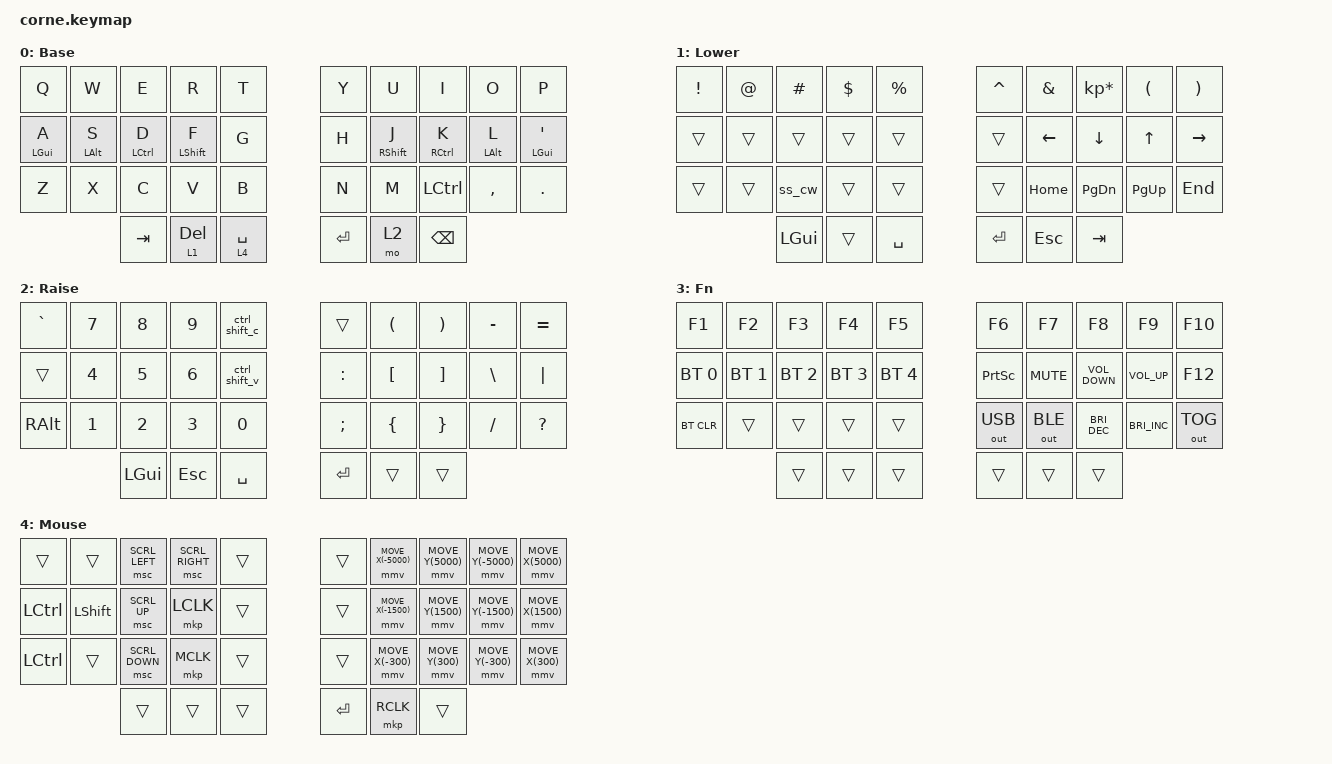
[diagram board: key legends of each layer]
/*
 * Copyright (c) 2020 The ZMK Contributors
 *
 * SPDX-License-Identifier: MIT
 */


#define ZMK_POINTING_DEFAULT_MOVE_VAL 1500  // Increase for faster default
#define ZMK_POINTING_DEFAULT_SCRL_VAL 20    // Increase for faster scroll

#include <behaviors.dtsi>
#include <dt-bindings/zmk/keys.h>
#include <dt-bindings/zmk/bt.h>
#include <dt-bindings/zmk/outputs.h>
#include <dt-bindings/zmk/mouse.h> 
#include <dt-bindings/input/input-event-codes.h>

/ {

    macros {
        ctrl_shift_c: ctrl_shift_c {
            compatible = "zmk,behavior-macro";
            #binding-cells = <0>;
            bindings = <&macro_press &kp LCTRL &kp LSHIFT>
                     , <&macro_tap &kp C> , <&macro_release &kp LCTRL &kp LSHIFT>;
        };
        
        ctrl_shift_v: ctrl_shift_v {
            compatible = "zmk,behavior-macro";
            #binding-cells = <0>;
            bindings = <&macro_press &kp LCTRL &kp LSHIFT>
                     , <&macro_tap &kp V>
                     , <&macro_release &kp LCTRL &kp LSHIFT>;
        };
    };

    chosen {
        zmk,physical-layout = &foostan_corne_5col_layout;
    };

    combos {
        compatible = "zmk,combos";

        combo_tab {
            timeout-ms = <50>;
            key-positions = <1 2>;
            bindings = <&kp TAB>;
        };

        // Add more combos as needed

	// Add this new one:
        combo_fn_layer {
            timeout-ms = <100>;
            key-positions = <30 35>;  // Both outer thumbs
            bindings = <&mo 3>;
        };

	/*combo_mouse {
            timeout-ms = <50>;
            key-positions = <20 29>;  // Z + . (bottom corners)
            bindings = <&tog 4>;
        }; */

    };

    behaviors {
	hml: homerow_mods_left {
            compatible = "zmk,behavior-hold-tap";
            #binding-cells = <2>;
            flavor = "balanced";
            tapping-term-ms = <280>;
            quick-tap-ms = <175>;
            require-prior-idle-ms = <150>;
            bindings = <&kp>, <&kp>;
	    hold-trigger-key-positions = <5 6 7 8 9 15 16 17 18 19 25 26 27 28 29 30 31 32 33 34 35>;
            hold-trigger-on-release;
        };

        hmr: homerow_mods_right {
            compatible = "zmk,behavior-hold-tap";
            #binding-cells = <2>;
            flavor = "balanced";
            tapping-term-ms = <280>;
            quick-tap-ms = <175>;
            require-prior-idle-ms = <150>;
            bindings = <&kp>, <&kp>;
            hold-trigger-key-positions = <0 1 2 3 4 10 11 12 13 14 20 21 22 23 24 30 31 32 33 34 35>;
	    hold-trigger-on-release;
        };

	smart_layer: smart_layer {
            compatible = "zmk,behavior-hold-tap";
            #binding-cells = <2>;
            flavor = "balanced";
            tapping-term-ms = <200>;
            quick-tap-ms = <175>;
            bindings = <&mo>, <&kp>;
    	};

	ss_cw: sticky_shift_caps_word {
            compatible = "zmk,behavior-mod-morph";
            #binding-cells = <0>;
            bindings = <&sk LSHFT>, <&caps_word>;
            mods = <(MOD_LSFT)>;
    	};

	space_mouse: space_mouse {
    	    compatible = "zmk,behavior-hold-tap";
    	    #binding-cells = <2>;
    	    flavor = "balanced";
    	    tapping-term-ms = <200>;
    	    quick-tap-ms = <175>;
    	    bindings = <&mo>, <&kp>;
	};



    };
        keymap {
                compatible = "zmk,keymap";

                default_layer {
// -----------------------------------------------------------------------------------------
// |  Q   |  W   |  E   |   R   |     T     |     |    Y    |    U   |    I   |   O   |   P  |
// |GUI/A |ALT/S |CTL/D |SHF/F  |     G     |     |    H    |  SHF/J |  CTL/K | ALT/L | GUI/'|
// |  Z   |  X   |  C   |   V   |     B     |     |    N    |    M   |  CTRL  |   ,   |   .  |
//               | TAB  |LWR/DEL| MSE/SPC   |     |   ENT   |  RSE   |  BSPC  |
                        display-name = "Base";
                        bindings = <
   &kp Q        &kp W        &kp E         &kp R                 &kp T                   &kp Y     &kp U         &kp I         &kp O        &kp P
   &hml LGUI A  &hml LALT S  &hml LCTRL D  &hml LSHFT F          &kp G                   &kp H     &hmr RSHFT J  &hmr RCTRL K  &hmr LALT L  &hmr LGUI SQT   
   &kp Z        &kp X        &kp C         &kp V                 &kp B                   &kp N     &kp M         &kp LCTL      &kp COMMA    &kp DOT
                             &kp TAB       &smart_layer 1 DEL    &space_mouse 4 SPACE    &kp RET   &mo 2         &kp BSPC
                        >;
                };

                lower_layer {
// -----------------------------------------------------------------------------------------
// |  !  |  @  |  #  |  $  |  %  |     |  ^  |  &  |  *  |  (  |  )  |
// |     |     |     |     |     |     |     | LFT | DWN |  UP | RGT |
// |     |     | CAPS|     |     |     |     | HOM | PDN | PUP | END |
//             | GUI |     | SPC |     | ENT | ESC | TAB |
                        display-name = "Lower";
                        bindings = <
   &kp EXCL     &kp AT       &kp HASH     &kp DLLR     &kp PRCNT        &kp CARET &kp AMPS  &kp KP_MULTIPLY &kp LPAR  &kp RPAR
   &trans       &trans       &trans       &trans       &trans           &trans    &kp LEFT  &kp DOWN  &kp UP          &kp RIGHT 
   &trans       &trans       &ss_cw       &trans       &trans           &trans    &kp HOME  &kp PG_DN       &kp PG_UP &kp END
                             &kp LGUI     &trans       &kp SPACE        &kp RET   &kp ESC   &kp TAB
                        >;
                };

                raise_layer {
// -----------------------------------------------------------------------------------------
// |  `  |  7  |  8  |  9  | CS-C |     |     |  (  |  )  |  -  |  =  |
// |     |  4  |  5  |  6  | CS-V |     |  :  |  [  |  ]  |  \  |  |  |
// | RALT|  1  |  2  |  3  |  0   |     |  ;  |  {  |  }  |  /  |  ?  |
//             | GUI | ESC | SPC  |     | ENT |     |     |
                        display-name = "Raise";
                        bindings = <
   &kp GRAVE       &kp N7    &kp N8    &kp N9     &ctrl_shift_c           &trans    &kp LPAR     &kp RPAR    &kp MINUS  &kp EQUAL
   &trans          &kp N4    &kp N5    &kp N6     &ctrl_shift_v           &kp COLON &kp LBKT     &kp RBKT    &kp BSLH   &kp PIPE
   &kp RALT        &kp N1    &kp N2    &kp N3     &kp N0                  &kp SEMI  &kp LBRC     &kp RBRC    &kp FSLH   &kp QMARK
                             &kp LGUI  &kp ESC    &kp SPACE               &kp RET   &trans       &trans
		
			>;
                };

                fn_layer {
// -----------------------------------------------------------------------------------------
// |  F1  |  F2  |  F3  |  F4  |  F5  |     |  F6  |  F7  |  F8  |  F9  | F10  |
// |  BT0 |  BT1 |  BT2 |  BT3 |  BT4 |     | PSCR | MUTE | VOL- | VOL+ |  F12 |
// | BTCLR|      |      |      |      |     | USB  | BLE  | BRI- | BRI+ | OUT  |
//               |      |      |      |     |      |      |      |
                        display-name = "Fn";
                        bindings = < 
   &kp F1       &kp F2       &kp F3       &kp F4       &kp F5         &kp F6       &kp F7    &kp F8    &kp F9    &kp F10
   &bt BT_SEL 0 &bt BT_SEL 1 &bt BT_SEL 2 &bt BT_SEL 3 &bt BT_SEL 4   &kp PSCRN    &kp C_MUTE &kp C_VOLUME_DOWN &kp C_VOLUME_UP &kp F12
   &bt BT_CLR   &trans       &trans       &trans       &trans         &out OUT_USB &out OUT_BLE &kp C_BRIGHTNESS_DEC &kp C_BRIGHTNESS_INC &out OUT_TOG
                             &trans       &trans       &trans         &trans       &trans    &trans
                        >;
                };


                mouse_layer {
// -----------------------------------------------------------------------------------------
// |      |      | SCRL_L| SCRL_R|     |     |      | MV_L | MV_D | MV_U | MV_R |  (fast 5000)
// | LCTL | LSHF | SCRL_U| LCLK |      |     |      | MV_L | MV_D | MV_U | MV_R |  (mid  1500)
// | LCTL |      | SCRL_D| MCLK |      |     |      | MV_L | MV_D | MV_U | MV_R |  (slow  300)
//               |       |      |      |     |  ENT | RCLK |      |
                        display-name = "Mouse";
                        bindings = <
   &trans       &trans       &msc SCRL_LEFT  &msc SCRL_RIGHT &trans         &trans      &mmv MOVE_X(-5000)   &mmv MOVE_Y(5000)   &mmv MOVE_Y(-5000)   &mmv MOVE_X(5000)
   &kp LCTRL    &kp LSHFT    &msc SCRL_UP    &mkp LCLK    &trans           &trans      &mmv MOVE_X(-1500)   &mmv MOVE_Y(1500)   &mmv MOVE_Y(-1500)   &mmv MOVE_X(1500)
   &kp LCTRL    &trans       &msc SCRL_DOWN  &mkp MCLK    &trans           &trans      &mmv MOVE_X(-300)    &mmv MOVE_Y(300)    &mmv MOVE_Y(-300)    &mmv MOVE_X(300)  
                             &trans          &trans       &trans           &kp RET     &mkp RCLK            &trans
                        >;
};
		
                extra_2 {
                        status = "reserved";
                };

                extra_3 {
                        status = "reserved";
                };
        };
};
